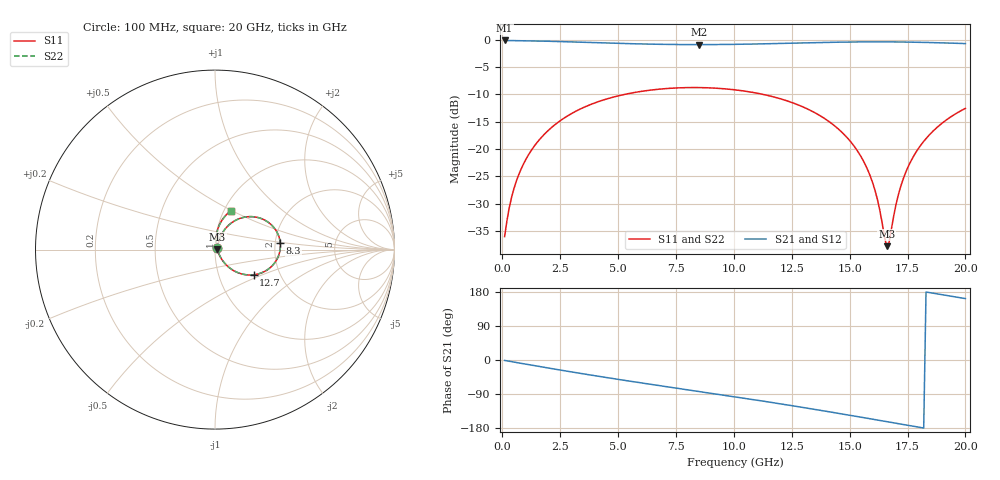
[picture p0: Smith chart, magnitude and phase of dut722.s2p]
! Touchstone file exported from HFSS 2026.1.0
!  File:  C:/ffzhzh/LocalFiles/Ansys_Project_Files/temp_train_TSV_RDL_722_1783201841_43440.aedt
!  Generated:  05:59:02 AM Jul  5, 2026
!  Design:  TSV_RDL
!  Project:  temp_train_TSV_RDL_722_1783201841_43440
! Variables:
!  h_bsmrdl = 3.62um
!  h_ox = 20um
!  h_rdl = 5um
!  h_sub = 62.95um
!  h_tmrdl = 4.29um
!  h_tsv = 62.95um
!  h_via = 3um
!  l_bsmrdl = 274.73um
!  l_sub = 3225.67um
!  l_tmrdl = 467.82um
!  m_sub = 200um
!  pitch = 40.39um
!  r_tsv = 13.28um
!  s_tmrdl = 10um
!  w_bsmrdl = 26.32um
!  w_sub = 500um
!  w_tmrdl = 17.08um
!  x_tsv_center1 = 476.36um
!  x_tsv_center2 = 777.41um
!  x_tsv_center3 = 1262.31um
!  x_tsv_center4 = 1563.36um
!  x_tsv_center5 = 2048.26um
!  x_tsv_center6 = 2349.31um
# GHz S MA R 50.000000
! Terminal data exported
! Port[1] = TM_RDL1_1_T1
! Port[2] = TM_RDL5_1_T1
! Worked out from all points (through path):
!   200 points, 100 MHz to 20 GHz, reference 50 ohm
!   highest |S21| = -0.12 dB at 100 MHz (marker M1); lowest = -0.9 dB at 8.5 GHz (marker M2)
!   group delay of S21, straight-line fit = 27 ps
!   lowest |S11| = -37.8 dB at 16.6 GHz (marker M3), VSWR 1.03, Z = 51.3 + j0.125 ohm
!   |S11| at or under -10 dB: start of sweep to 5.279 GHz; 11.27 GHz to end of sweep
!   |S22| runs from -37.4 to -8.7 dB; largest |S21 - S12| = 1.7e-14
!   S11 on the Smith chart (normalised r, x): 100 MHz: 1.03, +0.02; 8.3 GHz: 2.13, +0.18; 12.7 GHz: 1.47, -0.44; 20 GHz: 1.08, +0.50
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0.1  0.01578 32.5  0.9868 -1.1  0.9868 -1.1  0.01578 32.5
! Gamma 0 0 0 0
! Port Impedance 50 0 50 0
0.3  0.02895 56.5  0.9852 -3.3  0.9852 -3.3  0.02895 56.5
0.5  0.04316 63.3  0.9835 -5.5  0.9835 -5.5  0.04315 63.3
1.1  0.08618 66.7  0.9792 -11.9  0.9792 -11.9  0.08618 66.7
2.1  0.1556 60.8  0.9692 -22.3  0.9692 -22.3  0.1556 60.8
3.5  0.2395 48.5  0.9498 -36.6  0.9498 -36.6  0.2395 48.5
5.1  0.3101 33.9  0.9271 -52.0  0.9271 -52.0  0.3101 33.9
6.8  0.3537 18.8  0.91 -67.8  0.91 -67.8  0.3537 18.9
8.3  0.3656 5.8  0.9041 -81.3  0.9041 -81.3  0.3656 5.8
8.5  0.3653 4.1  0.9041 -83.1  0.9041 -83.1  0.3653 4.1
10.1  0.3473 -9.9  0.9094 -97.7  0.9094 -97.7  0.3473 -9.8
12.7  0.2574 -33.1  0.9337 -122.4  0.9337 -122.4  0.2573 -33.0
13.4  0.2206 -39.4  0.9413 -129.3  0.9413 -129.3  0.2206 -39.3
14.7  0.1402 -50.4  0.9528 -142.6  0.9528 -142.6  0.1402 -50.2
15.6  0.07744 -55.4  0.9574 -152.1  0.9574 -152.1  0.07748 -55.0
16.1  0.04158 -52.2  0.9583 -157.4  0.9583 -157.4  0.0417 -51.4
16.6  0.01289 5.4  0.9578 -162.7  0.9578 -162.7  0.01344 6.0
16.7  0.01382 36.9  0.9576 -163.7  0.9576 -163.7  0.01436 36.2
17.1  0.03776 80.0  0.956 -168.0  0.956 -168.0  0.038 79.2
17.7  0.08136 84.5  0.9522 -174.3  0.9522 -174.3  0.0815 84.1
18.7  0.1526 78.6  0.9419 175.3  0.9419 175.3  0.1527 78.4
20  0.2356 67.4  0.9238 162.0  0.9238 162.0  0.2357 67.3
